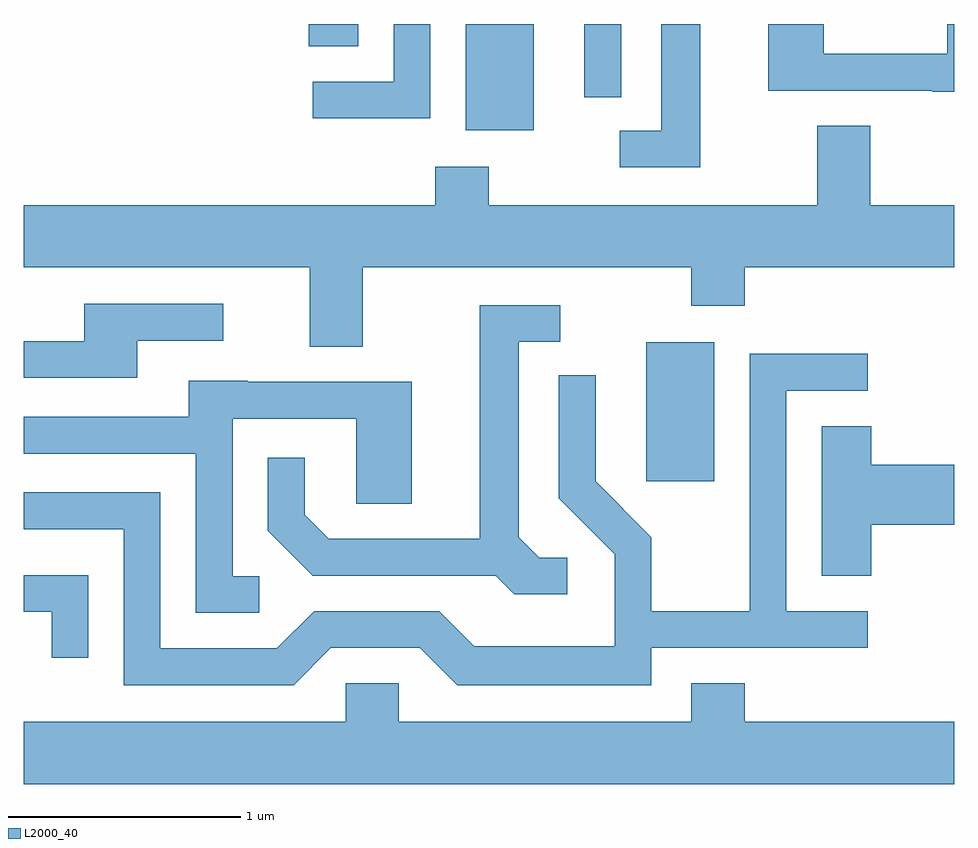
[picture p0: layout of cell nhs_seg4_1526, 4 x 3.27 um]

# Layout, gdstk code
import gdstk
lib = gdstk.Library(unit=1e-6, precision=1e-09)
def R(c, l, rs):  # rectangles x0, y0, x1, y1
    for r in rs: c.add(gdstk.rectangle(r[:2], r[2:], *l))
def P(c, l, *ps):  # polygons
    for p in ps: c.add(gdstk.Polygon(p, *l))
L2000_40 = (2000, 40)

nhs_seg4_1526 = lib.new_cell('nhs_seg4_1526')
R(nhs_seg4_1526, L2000_40, [(232.286,1316.016,232.579,1316.614), (231.511,1317.526,231.804,1317.982), (232.021,1317.668,232.179,1317.982), (230.836,1317.886,231.049,1317.982)])
P(nhs_seg4_1526, L2000_40, [(233.611,1317.982),(233.581,1317.982),(233.581,1317.854),(233.049,1317.854),(233.049,1317.982),(232.811,1317.982),(232.811,1317.696),(233.515,1317.696),(233.515,1317.691),(233.611,1317.691)],
  [(231.359,1317.982),(231.201,1317.982),(231.201,1317.734),(230.853,1317.734),(230.853,1317.576),(231.359,1317.576)],
  [(232.519,1317.982),(232.351,1317.982),(232.351,1317.524),(232.173,1317.524),(232.173,1317.366),(232.519,1317.366)],
  [(231.069,1316.936),(232.481,1316.936),(232.481,1316.771),(232.709,1316.771),(232.709,1316.936),(233.611,1316.936),(233.611,1317.204),(233.249,1317.204),(233.249,1317.544),(233.021,1317.544),(233.021,1317.204),(231.609,1317.204),(231.609,1317.369),(231.381,1317.369),(231.381,1317.204),(229.611,1317.204),(229.611,1316.936),(230.841,1316.936),(230.841,1316.596),(231.069,1316.596)],
  [(230.099,1316.621),(230.468,1316.621),(230.468,1316.779),(229.871,1316.779),(229.871,1316.619),(229.611,1316.619),(229.611,1316.461),(230.099,1316.461)],
  [(231.948,1315.689),(231.827,1315.689),(231.739,1315.777),(231.739,1316.616),(231.918,1316.616),(231.918,1316.774),(231.571,1316.774),(231.571,1315.769),(230.922,1315.769),(230.819,1315.872),(230.819,1316.118),(230.661,1316.118),(230.661,1315.804),(230.854,1315.611),(231.639,1315.611),(231.719,1315.531),(231.948,1315.531)],
  [(230.932,1315.301),(231.314,1315.301),(231.474,1315.141),(232.309,1315.141),(232.309,1315.301),(233.238,1315.301),(233.238,1315.459),(232.889,1315.459),(232.889,1316.406),(233.238,1316.406),(233.238,1316.564),(232.731,1316.564),(232.731,1315.459),(232.309,1315.459),(232.309,1315.777),(232.069,1316.017),(232.069,1316.473),(231.911,1316.473),(231.911,1315.944),(232.151,1315.704),(232.151,1315.309),(231.547,1315.309),(231.397,1315.459),(230.859,1315.459),(230.699,1315.299),(230.199,1315.299),(230.199,1315.969),(229.611,1315.969),(229.611,1315.811),(230.041,1315.811),(230.041,1315.141),(230.772,1315.141)],
  [(230.623,1315.609),(230.509,1315.609),(230.509,1316.286),(231.041,1316.286),(231.041,1315.921),(231.279,1315.921),(231.279,1316.444),(230.575,1316.444),(230.575,1316.449),(230.321,1316.449),(230.321,1316.294),(229.611,1316.294),(229.611,1316.136),(230.351,1316.136),(230.351,1315.451),(230.623,1315.451)],
  [(233.254,1315.831),(233.611,1315.831),(233.611,1316.089),(233.254,1316.089),(233.254,1316.254),(233.041,1316.254),(233.041,1315.611),(233.254,1315.611)],
  [(229.889,1315.614),(229.611,1315.614),(229.611,1315.456),(229.731,1315.456),(229.731,1315.258),(229.889,1315.258)],
  [(233.611,1314.984),(232.709,1314.984),(232.709,1315.149),(232.481,1315.149),(232.481,1314.984),(231.224,1314.984),(231.224,1315.149),(230.996,1315.149),(230.996,1314.984),(229.611,1314.984),(229.611,1314.716),(233.611,1314.716)])

lib.write_gds('nhs_seg4_1526.gds')
